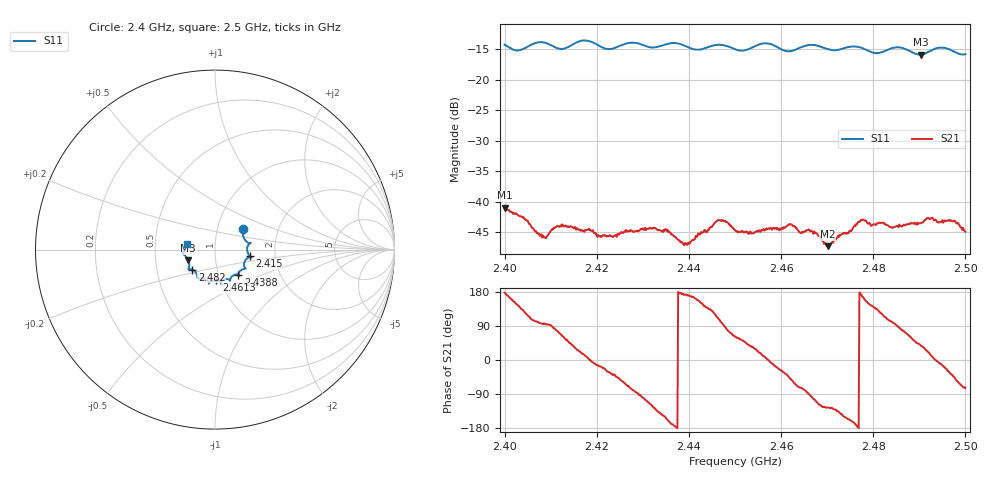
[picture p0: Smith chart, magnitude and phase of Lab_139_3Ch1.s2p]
# Hz S RI R 50
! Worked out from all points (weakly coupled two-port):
!   601 points, 2.4 GHz to 2.5 GHz, reference 50 ohm
!   highest |S21| = -41.00 dB at 2.4 GHz (marker M1); lowest = -47.3 dB at 2.4702 GHz (marker M2)
!   lowest |S11| = -15.9 dB at 2.4903 GHz (marker M3), VSWR 1.38, Z = 36.8 - j4.45 ohm
!   |S11| at or under -10 dB: start of sweep to end of sweep
!   S12 and S22 are empty: the file has one direction only
!   S11 on the Smith chart (normalised r, x): 2.4 GHz: 1.33, +0.31; 2.415 GHz: 1.47, -0.11; 2.4388 GHz: 1.24, -0.36; 2.4613 GHz: 0.96, -0.34; 2.482 GHz: 0.76, -0.17; 2.5 GHz: 0.73, +0.05
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2.4e9  0.1576 0.1128  -0.0089 0.000359  0 0  0 0
2.402833e9  0.1605 0.0658  -0.0064 0.00445  0 0  0 0
2.408667e9  0.198 0.0378  -0.000525 0.00507  0 0  0 0
2.411167e9  0.182 0.0183  0.00116 0.00609  0 0  0 0
2.415e9  0.193 -0.036  0.00488 0.00356  0 0  0 0
2.416667e9  0.204 -0.0443  0.00554 0.00186  0 0  0 0
2.4225e9  0.1655 -0.0659  0.0045 -0.00271  0 0  0 0
2.4275e9  0.1713 -0.1053  0.00136 -0.00561  0 0  0 0
2.433333e9  0.1324 -0.1314  -0.00428 -0.00394  0 0  0 0
2.438833e9  0.1297 -0.1409  -0.00448 0.000617  0 0  0 0
2.446333e9  0.0837 -0.1743  -0.00242 0.00665  0 0  0 0
2.45e9  0.0685 -0.1645  0.00274 0.00517  0 0  0 0
2.456833e9  0.0385 -0.1949  0.00602 0.000442  0 0  0 0
2.461333e9  0.008 -0.1709  0.00489 -0.00406  0 0  0 0
2.466667e9  -0.0342 -0.1901  -0.000827 -0.00566  0 0  0 0
2.470167e9  -0.0446 -0.1722  -0.00249 -0.00352  0 0  0 0
2.477333e9  -0.0972 -0.1555  -0.00702 0.000902  0 0  0 0
2.482e9  -0.1263 -0.1117  -0.00338 0.00581  0 0  0 0
2.483333e9  -0.1398 -0.1088  -0.00171 0.00609  0 0  0 0
2.490333e9  -0.1495 -0.0589  0.00524 0.00407  0 0  0 0
2.497167e9  -0.1726 -0.0094  0.00536 -0.00437  0 0  0 0
2.5e9  -0.1585 0.0328  0.00159 -0.00543  0 0  0 0
